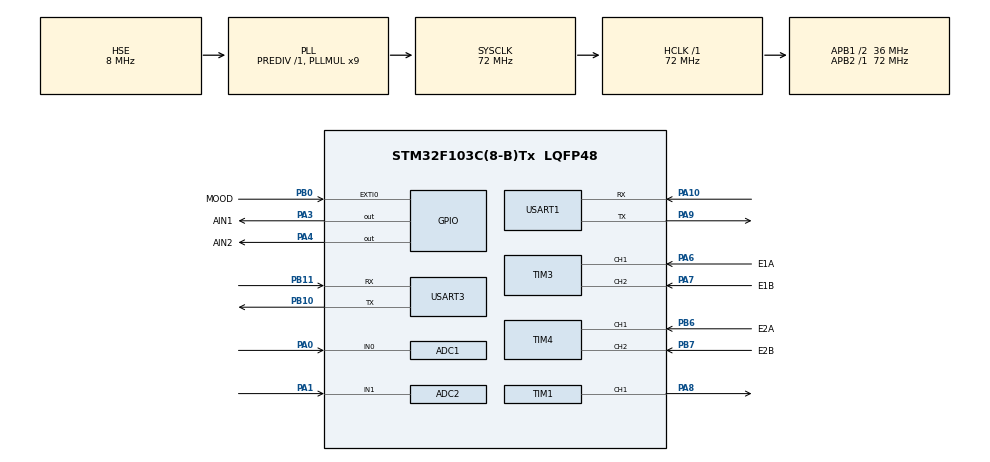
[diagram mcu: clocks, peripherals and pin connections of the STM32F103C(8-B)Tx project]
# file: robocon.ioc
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ADC1.Channel-0\#ChannelRegularConversion=ADC_CHANNEL_0
ADC1.NbrOfConversionFlag=1
ADC1.Rank-0\#ChannelRegularConversion=1
ADC1.SamplingTime-0\#ChannelRegularConversion=ADC_SAMPLETIME_1CYCLE_5
ADC1.master=1
ADC2.Channel-0\#ChannelRegularConversion=ADC_CHANNEL_1
ADC2.NbrOfConversionFlag=1
ADC2.Rank-0\#ChannelRegularConversion=1
ADC2.SamplingTime-0\#ChannelRegularConversion=ADC_SAMPLETIME_1CYCLE_5
Dma.Request0=USART1_TX
Dma.Request1=USART1_RX
Dma.Request2=USART3_RX
Dma.USART1_RX.1.Direction=DMA_PERIPH_TO_MEMORY
Dma.USART1_RX.1.Instance=DMA1_Channel5
Dma.USART1_RX.1.MemDataAlignment=DMA_MDATAALIGN_BYTE
Dma.USART1_RX.1.MemInc=DMA_MINC_ENABLE
Dma.USART1_RX.1.Mode=DMA_CIRCULAR
Dma.USART1_RX.1.PeriphDataAlignment=DMA_PDATAALIGN_BYTE
Dma.USART1_RX.1.PeriphInc=DMA_PINC_DISABLE
Dma.USART1_RX.1.Priority=DMA_PRIORITY_LOW
Dma.USART1_TX.0.Direction=DMA_MEMORY_TO_PERIPH
Dma.USART1_TX.0.Instance=DMA1_Channel4
Dma.USART1_TX.0.MemDataAlignment=DMA_MDATAALIGN_BYTE
Dma.USART1_TX.0.MemInc=DMA_MINC_ENABLE
Dma.USART1_TX.0.Mode=DMA_NORMAL
Dma.USART1_TX.0.PeriphDataAlignment=DMA_PDATAALIGN_BYTE
Dma.USART1_TX.0.PeriphInc=DMA_PINC_DISABLE
Dma.USART1_TX.0.Priority=DMA_PRIORITY_LOW
Dma.USART3_RX.2.Direction=DMA_PERIPH_TO_MEMORY
Dma.USART3_RX.2.Instance=DMA1_Channel3
Dma.USART3_RX.2.MemDataAlignment=DMA_MDATAALIGN_BYTE
Dma.USART3_RX.2.MemInc=DMA_MINC_ENABLE
Dma.USART3_RX.2.Mode=DMA_CIRCULAR
Dma.USART3_RX.2.PeriphDataAlignment=DMA_PDATAALIGN_BYTE
Dma.USART3_RX.2.PeriphInc=DMA_PINC_DISABLE
Dma.USART3_RX.2.Priority=DMA_PRIORITY_VERY_HIGH
FREERTOS.INCLUDE_vTaskDelayUntil=1
FREERTOS.Tasks01=defaultTask,24,128,StartDefaultTask,Default,NULL,Dynamic,NULL,NULL;PidTask,27,528,Pid_Task,Default,NULL,Dynamic,NULL,NULL;EncoderTask,26,528,Encoder_Task,Default,NULL,Dynamic,NULL,NULL;KeyMoodTask,24,256,KeyMood_Task,Default,NULL,Dynamic,NULL,NULL;MotorTask,25,528,Motor_Task,Default,NULL,Dynamic,NULL,NULL
FREERTOS.configTOTAL_HEAP_SIZE=10000
FREERTOS.configUSE_PREEMPTION=1
Mcu.Family=STM32F1
Mcu.Name=STM32F103C(8-B)Tx
Mcu.Package=LQFP48
NVIC.DMA1_Channel3_IRQn=true\:5\:0\:false\:false\:true\:true\:false\:true\:true
NVIC.DMA1_Channel4_IRQn=true\:5\:0\:false\:false\:true\:true\:false\:true\:true
NVIC.DMA1_Channel5_IRQn=true\:5\:0\:false\:false\:true\:true\:false\:true\:true
NVIC.EXTI0_IRQn=true\:5\:0\:true\:false\:true\:true\:true\:true\:true
NVIC.PriorityGroup=NVIC_PRIORITYGROUP_4
NVIC.TIM2_IRQn=true\:15\:0\:false\:false\:true\:false\:true\:true\:true
NVIC.TimeBase=TIM2_IRQn
NVIC.TimeBaseIP=TIM2
NVIC.USART1_IRQn=true\:5\:0\:false\:false\:true\:true\:true\:true\:true
NVIC.USART3_IRQn=true\:5\:0\:false\:false\:true\:true\:true\:true\:true
PA0-WKUP.Signal=ADCx_IN0
PA1.Signal=ADCx_IN1
PA10.GPIO_PuPd=GPIO_PULLUP
PA10.Mode=Asynchronous
PA10.Signal=USART1_RX
PA13.Mode=Serial_Wire
PA13.Signal=SYS_JTMS-SWDIO
PA14.Mode=Serial_Wire
PA14.Signal=SYS_JTCK-SWCLK
PA3.GPIO_Label=AIN1
PA3.GPIO_PuPd=GPIO_PULLUP
PA3.GPIO_Speed=GPIO_SPEED_FREQ_HIGH
PA3.Signal=GPIO_Output
PA4.GPIO_Label=AIN2
PA4.GPIO_PuPd=GPIO_PULLUP
PA4.GPIO_Speed=GPIO_SPEED_FREQ_HIGH
PA4.Signal=GPIO_Output
PA6.GPIO_Label=E1A
PA6.GPIO_PuPd=GPIO_PULLUP
PA6.Signal=S_TIM3_CH1
PA7.GPIO_Label=E1B
PA7.GPIO_PuPd=GPIO_PULLUP
PA7.Signal=S_TIM3_CH2
PA8.Signal=S_TIM1_CH1
PA9.GPIO_Speed=GPIO_SPEED_FREQ_HIGH
PA9.Mode=Asynchronous
PA9.Signal=USART1_TX
PB0.GPIO_Label=MOOD
PB0.GPIO_PuPd=GPIO_PULLUP
PB0.Signal=GPXTI0
PB10.GPIO_Speed=GPIO_SPEED_FREQ_HIGH
PB10.Mode=Asynchronous
PB10.Signal=USART3_TX
PB11.GPIO_PuPd=GPIO_NOPULL
PB11.Mode=Asynchronous
PB11.Signal=USART3_RX
PB6.GPIO_Label=E2A
PB6.GPIO_PuPd=GPIO_PULLUP
PB6.Signal=S_TIM4_CH1
PB7.GPIO_Label=E2B
PB7.GPIO_PuPd=GPIO_PULLUP
PB7.Signal=S_TIM4_CH2
PC14-OSC32_IN.Mode=LSE-External-Oscillator
PC14-OSC32_IN.Signal=RCC_OSC32_IN
PC15-OSC32_OUT.Mode=LSE-External-Oscillator
PC15-OSC32_OUT.Signal=RCC_OSC32_OUT
PD0-OSC_IN.Mode=HSE-External-Oscillator
PD0-OSC_IN.Signal=RCC_OSC_IN
PD1-OSC_OUT.Mode=HSE-External-Oscillator
PD1-OSC_OUT.Signal=RCC_OSC_OUT
ProjectManager.HeapSize=0x200
ProjectManager.StackSize=0x400
ProjectManager.TargetToolchain=STM32CubeIDE
RCC.ADCPresc=RCC_ADCPCLK2_DIV6
RCC.AHBFreq_Value=72000000
RCC.APB1CLKDivider=RCC_HCLK_DIV2
RCC.APB1Freq_Value=36000000
RCC.APB1TimFreq_Value=72000000
RCC.APB2Freq_Value=72000000
RCC.APB2TimFreq_Value=72000000
RCC.HCLKFreq_Value=72000000
RCC.PLLMUL=RCC_PLL_MUL9
RCC.PLLSourceVirtual=RCC_PLLSOURCE_HSE
RCC.SYSCLKFreq_VALUE=72000000
RCC.SYSCLKSource=RCC_SYSCLKSOURCE_PLLCLK
RCC.USBFreq_Value=72000000
SH.ADCx_IN0.0=ADC1_IN0,IN0
SH.ADCx_IN1.0=ADC2_IN1,IN1
SH.S_TIM1_CH1.0=TIM1_CH1,PWM Generation1 CH1
SH.S_TIM3_CH1.0=TIM3_CH1,Encoder_Interface
SH.S_TIM3_CH2.0=TIM3_CH2,Encoder_Interface
SH.S_TIM4_CH1.0=TIM4_CH1,Encoder_Interface
SH.S_TIM4_CH2.0=TIM4_CH2,Encoder_Interface
TIM1.Channel-PWM\ Generation1\ CH1=TIM_CHANNEL_1
TIM1.Period=1200-1
TIM1.Prescaler=6-1
TIM3.EncoderMode=TIM_ENCODERMODE_TI12
TIM4.EncoderMode=TIM_ENCODERMODE_TI12
USART1.VirtualMode=VM_ASYNC
USART3.VirtualMode=VM_ASYNC
VP_FREERTOS_VS_CMSIS_V2.Mode=CMSIS_V2
VP_SYS_VS_tim2.Mode=TIM2
board=custom

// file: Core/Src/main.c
/* USER CODE BEGIN Header */
/**
  ******************************************************************************
  * @file           : main.c
  * @brief          : Main program body
  ******************************************************************************
  * @attention
  *
  * Copyright (c) 2024 STMicroelectronics.
  * All rights reserved.
  *
  * This software is licensed under terms that can be found in the LICENSE file
  * in the root directory of this software component.
  * If no LICENSE file comes with this software, it is provided AS-IS.
  *
  ******************************************************************************
  */
/* USER CODE END Header */
#include "main.h"
#include "cmsis_os.h"
#include "adc.h"
#include "dma.h"
#include "tim.h"
#include "usart.h"
#include "gpio.h"

/* USER CODE BEGIN Includes */

#include "debug.h"
#include "encodor.h"
#include "motor.h"
#include "roboinit.h"
#include "pid.h"
#include"set_target.h"
#include "gyro.h"
/* USER CODE END Includes */

/* USER CODE BEGIN PV */
extern int cnt_mood;
extern Encodor encodor;
extern Pid vec_pid;
extern Pid pos_pid;

int flag1=-1;
int flag=-1;

extern float expect_speed;
extern float expect_speed_division;
extern float expect_speed_rise;
extern float expect_speed_dec;
extern int cnt;

/* USER CODE END PV */

void SystemClock_Config(void);
void MX_FREERTOS_Init(void);

int main(void)
{

  /* MCU Configuration--------------------------------------------------------*/

  /* Reset of all peripherals, Initializes the Flash interface and the Systick. */
  HAL_Init();

  /* Configure the system clock */
  SystemClock_Config();

  /* Initialize all configured peripherals */
  MX_GPIO_Init();
  MX_DMA_Init();
  MX_USART1_UART_Init();
  MX_TIM3_Init();
  MX_ADC1_Init();
  MX_ADC2_Init();
  MX_TIM4_Init();
  MX_USART3_UART_Init();
  MX_TIM1_Init();
  /* USER CODE BEGIN 2 */

  //HAL_TIM_Base_Start_IT(&htim2);

  HAL_TIM_PWM_Start(&htim1,TIM_CHANNEL_1);

  HAL_TIM_Encoder_Start(&htim3,TIM_CHANNEL_1|TIM_CHANNEL_2);
  HAL_TIM_Encoder_Start(&htim4,TIM_CHANNEL_1|TIM_CHANNEL_2);

  HAL_ADCEx_Calibration_Start(&hadc1);//开启ADC之前校准一下

  roboinit();
  Set_Target_UartInit();
  GYRO_UartInit();
  /* USER CODE END 2 */

  /* Init scheduler */
  osKernelInitialize();

  /* Call init function for freertos objects (in cmsis_os2.c) */
  MX_FREERTOS_Init();

  /* Start scheduler */
  osKernelStart();

  /* We should never get here as control is now taken by the scheduler */

  /* Infinite loop */
  /* USER CODE BEGIN WHILE */
  while (1)
  {

    /*
        HAL_ADC_Start(&hadc1);
        HAL_ADC_PollForConversion(&hadc1,HAL_MAX_DELAY);
        adc1_number0=HAL_ADC_GetValue(&hadc1);

        HAL_ADC_Start(&hadc2);
        HAL_ADC_PollForConversion(&hadc2,HAL_MAX_DELAY);
        adc2_number1=HAL_ADC_GetValue(&hadc2);

        //printf("%u,%u\n",adc1_number0,adc2_number1);

        //以下代码不要，是用来测试，之后删掉

         EncodorGetCounter(&encodor);
         EncodorGetPosition(&encodor);
         EncodorGetSpeed(&encodor,10);

         speed_w_target=(366.0*adc1_number0)/4096.0;
         setPidTarget(&vec_pid,speed_w_target);
         vec_pid.variables.output.output_total=PidGet(&vec_pid,encodor.speed.w,0.1f,200.0);
         Motor_Dirctiion_Speed(vec_pid.variables.output.output_total);

         printf("%.2f,%.2f,%.2f\n",encodor.speed.w,adc1_number0,speed_w_target);

        setPidTarget(&pos_pid,360);
        pos_pid.variables.output.output_total=PidGet(&pos_pid,encodor.position.angle,5.0,200.0);
        Motor_Dirctiion_Speed(pos_pid.variables.output.output_total);
        usart_printf("%.2f,%.2f\n",encodor.position.angle,vec_pid.variables.output.output_total);

        setPidTargetwithRamp(&pos_pid,500);

        Pid_Update_Gamp(&pos_pid);

        pos_pid.variables.output.output_total=PidGet(&pos_pid,encodor.position.angle,0.1f,300.0);

        setPidTarget(&vec_pid,pos_pid.variables.output.output_total);
        //setPidTargetwithRamp(&vec_pid,pos_pid.variables.output.output_total);

        //Pid_Update_Gamp(&vec_pid);//实现斜坡函数，单独封装

        vec_pid.variables.output.output_total=PidGet(&vec_pid,encodor.speed.w,0.1f,200);//实现内环速度pid

        Motor_Dirctiion_Speed(vec_pid.variables.output.output_total);

        printf("%.2f,%.2f\n",encodor.position.angle,encodor.speed.w);
    */

    HAL_Delay(10);
  }

    /* USER CODE END WHILE */

}

void SystemClock_Config(void)
{
  RCC_OscInitTypeDef RCC_OscInitStruct = {0};
  RCC_ClkInitTypeDef RCC_ClkInitStruct = {0};
  RCC_PeriphCLKInitTypeDef PeriphClkInit = {0};

  /** Initializes the RCC Oscillators according to the specified parameters
  * in the RCC_OscInitTypeDef structure.
  */
  RCC_OscInitStruct.OscillatorType = RCC_OSCILLATORTYPE_HSE;
  RCC_OscInitStruct.HSEState = RCC_HSE_ON;
  RCC_OscInitStruct.HSEPredivValue = RCC_HSE_PREDIV_DIV1;
  RCC_OscInitStruct.HSIState = RCC_HSI_ON;
  RCC_OscInitStruct.PLL.PLLState = RCC_PLL_ON;
  RCC_OscInitStruct.PLL.PLLSource = RCC_PLLSOURCE_HSE;
  RCC_OscInitStruct.PLL.PLLMUL = RCC_PLL_MUL9;
  if (HAL_RCC_OscConfig(&RCC_OscInitStruct) != HAL_OK)
  {
    Error_Handler();
  }

  /** Initializes the CPU, AHB and APB buses clocks
  */
  RCC_ClkInitStruct.ClockType = RCC_CLOCKTYPE_HCLK|RCC_CLOCKTYPE_SYSCLK
                              |RCC_CLOCKTYPE_PCLK1|RCC_CLOCKTYPE_PCLK2;
  RCC_ClkInitStruct.SYSCLKSource = RCC_SYSCLKSOURCE_PLLCLK;
  RCC_ClkInitStruct.AHBCLKDivider = RCC_SYSCLK_DIV1;
  RCC_ClkInitStruct.APB1CLKDivider = RCC_HCLK_DIV2;
  RCC_ClkInitStruct.APB2CLKDivider = RCC_HCLK_DIV1;

  if (HAL_RCC_ClockConfig(&RCC_ClkInitStruct, FLASH_LATENCY_2) != HAL_OK)
  {
    Error_Handler();
  }
  PeriphClkInit.PeriphClockSelection = RCC_PERIPHCLK_ADC;
  PeriphClkInit.AdcClockSelection = RCC_ADCPCLK2_DIV6;
  if (HAL_RCCEx_PeriphCLKConfig(&PeriphClkInit) != HAL_OK)
  {
    Error_Handler();
  }
}

void HAL_TIM_PeriodElapsedCallback(TIM_HandleTypeDef *htim)
{
  if (htim->Instance == TIM2) {
    HAL_IncTick();
  }
}

void Error_Handler(void)
{
  __disable_irq();
  while (1)
  {
  }
}

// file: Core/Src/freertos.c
/* USER CODE BEGIN Header */
/**
  ******************************************************************************
  * File Name          : freertos.c
  * Description        : Code for freertos applications
  ******************************************************************************
  * @attention
  *
  * Copyright (c) 2024 STMicroelectronics.
  * All rights reserved.
  *
  * This software is licensed under terms that can be found in the LICENSE file
  * in the root directory of this software component.
  * If no LICENSE file comes with this software, it is provided AS-IS.
  *
  ******************************************************************************
  */
/* USER CODE END Header */

#include "FreeRTOS.h"
#include "task.h"
#include "main.h"
#include "cmsis_os.h"

/* USER CODE BEGIN Includes */
#include "encoder_task.h"
#include"keymood_task.h"
#include"motor_task.h"
#include"pid_task.h"

#include "usart.h"
#include"motor.h"
#include"encodor.h"
#include "debug.h"
#include "pid.h"
#include "roboinit.h"
/* USER CODE END Includes */

/* USER CODE BEGIN Variables */
extern Encodor encodor;
extern Pid vec_pid;
extern Pid pos_pid;
/*
osThreadId_t PidTaskHandle;
osThreadId_t EncodorTaskHandle;
osThreadId_t MotorTaskHandle;;
osThreadId_t KeyMoodTaskHandle;

/* USER CODE END Variables */
/* Definitions for defaultTask */
osThreadId_t defaultTaskHandle;
const osThreadAttr_t defaultTask_attributes = {
  .name = "defaultTask",
  .stack_size = 128 * 4,
  .priority = (osPriority_t) osPriorityNormal,
};
/* Definitions for PidTask */
osThreadId_t PidTaskHandle;
const osThreadAttr_t PidTask_attributes = {
  .name = "PidTask",
  .stack_size = 528 * 4,
  .priority = (osPriority_t) osPriorityNormal3,
};
/* Definitions for EncoderTask */
osThreadId_t EncoderTaskHandle;
const osThreadAttr_t EncoderTask_attributes = {
  .name = "EncoderTask",
  .stack_size = 528 * 4,
  .priority = (osPriority_t) osPriorityNormal2,
};
/* Definitions for KeyMoodTask */
osThreadId_t KeyMoodTaskHandle;
const osThreadAttr_t KeyMoodTask_attributes = {
  .name = "KeyMoodTask",
  .stack_size = 256 * 4,
  .priority = (osPriority_t) osPriorityNormal,
};
/* Definitions for MotorTask */
osThreadId_t MotorTaskHandle;
const osThreadAttr_t MotorTask_attributes = {
  .name = "MotorTask",
  .stack_size = 528 * 4,
  .priority = (osPriority_t) osPriorityNormal1,
};

void StartDefaultTask(void *argument);
void Pid_Task(void *argument);
void Encoder_Task(void *argument);
void KeyMood_Task(void *argument);
void Motor_Task(void *argument);

void MX_FREERTOS_Init(void); /* (MISRA C 2004 rule 8.1) */

void MX_FREERTOS_Init(void) {

  /* Create the thread(s) */
  /* creation of defaultTask */
  defaultTaskHandle = osThreadNew(StartDefaultTask, NULL, &defaultTask_attributes);

  /* creation of PidTask */
  PidTaskHandle = osThreadNew(Pid_Task, NULL, &PidTask_attributes);

  /* creation of EncoderTask */
  EncoderTaskHandle = osThreadNew(Encoder_Task, NULL, &EncoderTask_attributes);

  /* creation of KeyMoodTask */
  KeyMoodTaskHandle = osThreadNew(KeyMood_Task, NULL, &KeyMoodTask_attributes);

  /* creation of MotorTask */
  MotorTaskHandle = osThreadNew(Motor_Task, NULL, &MotorTask_attributes);

}

void StartDefaultTask(void *argument)
{
  /* USER CODE BEGIN StartDefaultTask */
  portENABLE_INTERRUPTS();
  /* Infinite loop */
  for(;;)
  {
    osDelay(1);
  }
  /* USER CODE END StartDefaultTask */
}

/* USER CODE BEGIN Header_Pid_Task */
/**
* @brief Function implementing the PidTask thread.
* @param argument: Not used
* @retval None
*/
extern int cnt_mood;

/* USER CODE END Header_Pid_Task */
void Pid_Task(void *argument)
{
  /* USER CODE BEGIN Pid_Task */
  /* Infinite loop */
  portTickType CurrentTime1;

  for (;;)
  {
    CurrentTime1=xTaskGetTickCount();
    pid_task();
    //usart_printf("1\n");
    //usart_printf("%d,%d\n",cnt_mood,(int)encodor.speed.w);
    vTaskDelayUntil(&CurrentTime1,5);
  }

  vTaskDelete(NULL);

  /* USER CODE END Pid_Task */
}

void Encoder_Task(void *argument)
{
  /* USER CODE BEGIN Encoder_Task */
  /* Infinite loop */
 portTickType CurrentTime2;
  for (;;)
  {
    CurrentTime2=xTaskGetTickCount();

    encorder_task();
    //usart_printf("2\n");
    //usart_printf("%d,%.2f,%.2f\n",cnt_mood,encodor.speed.w,vec_pid.variables.output.output_total);
    //Motor_Dirctiion_Speed(1000);
    vTaskDelayUntil(&CurrentTime2,1);

  }
  /* USER CODE END Encoder_Task */
}

void KeyMood_Task(void *argument)
{
  /* USER CODE BEGIN KeyMood_Task */
  /* Infinite loop */
 portTickType CurrentTime3;
  for (;;)
  {
    CurrentTime3=xTaskGetTickCount();
    //usart_printf("4\n");
    keymood_task();
    vTaskDelayUntil(&CurrentTime3,1);

  }
  /* USER CODE END KeyMood_Task */
}

void Motor_Task(void *argument)
{
  /* USER CODE BEGIN Motor_Task */
  /* Infinite loop */
  portTickType CurrentTime4;
  for (;;)
  {
    CurrentTime4=xTaskGetTickCount();
   // usart_printf("3\n");
    motor_task();
    vTaskDelayUntil(&CurrentTime4,1);
  }

  /* USER CODE END Motor_Task */
}

/* USER CODE BEGIN Application */

//任务测试，出现了操作系统里的任务和无法打印的问题
/*void Pid_Task(void *argument)
{
  portTickType CurrentTime;

  for (;;)
  {

    CurrentTime=xTaskGetTickCount();
    pid_task();
    vTaskDelayUntil(&CurrentTime,5);

  }

}

void Encoder_Task(void *argument)
{

  portTickType CurrentTime;

  for (;;)
  {
    CurrentTime=xTaskGetTickCount();
    encorder_task();
    vTaskDelayUntil(&CurrentTime,1);

  }
}

void Motor_Task(void *argument)
{

  portTickType CurrentTime;

  for (;;)
  {
    CurrentTime=xTaskGetTickCount();
    motor_task();
    vTaskDelayUntil(&CurrentTime,1);

  }
}

void KeyMood_Task(void *argument)
{
  portTickType CurrentTime;

  for (;;)
  {
    CurrentTime=xTaskGetTickCount();
    keymood_task();
    vTaskDelayUntil(&CurrentTime,1);

  }

}
*/
/* USER CODE END Application */
